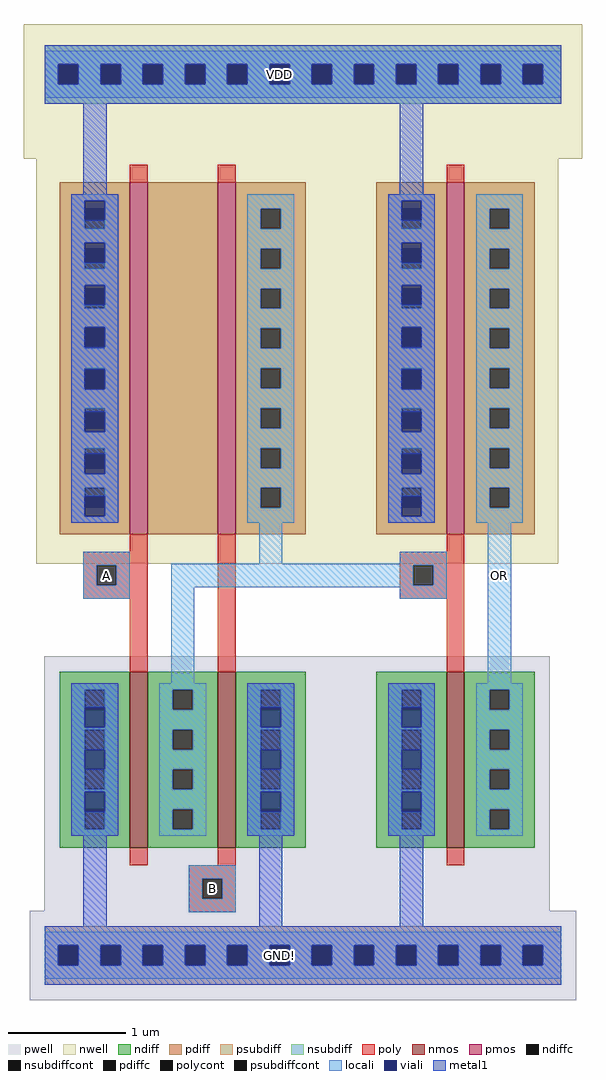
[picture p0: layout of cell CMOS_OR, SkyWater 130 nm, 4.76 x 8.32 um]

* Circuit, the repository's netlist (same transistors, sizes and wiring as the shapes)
* NGSPICE file created from CMOS_OR.ext - technology: sky130A

.subckt CMOS_OR GND OR B A VDD
X0 OR a_n1020_750# VDD VDD sky130_fd_pr__pfet_01v8 ad=1.8e+12p pd=7.2e+06u as=3.6e+12p ps=1.44e+07u w=3e+06u l=150000u
X1 GND B a_n1020_750# GND sky130_fd_pr__nfet_01v8 ad=2.7e+12p pd=1.26e+07u as=9e+11p ps=4.2e+06u w=1.5e+06u l=150000u
X2 OR a_n1020_750# GND GND sky130_fd_pr__nfet_01v8 ad=9e+11p pd=4.2e+06u as=0p ps=0u w=1.5e+06u l=150000u
X3 a_n1020_750# B a_n1020_1360# VDD sky130_fd_pr__pfet_01v8 ad=1.8e+12p pd=7.2e+06u as=1.8e+12p ps=7.2e+06u w=3e+06u l=150000u
X4 a_n1020_1360# A VDD VDD sky130_fd_pr__pfet_01v8 ad=0p pd=0u as=0p ps=0u w=3e+06u l=150000u
X5 a_n1020_750# A GND GND sky130_fd_pr__nfet_01v8 ad=0p pd=0u as=0p ps=0u w=1.5e+06u l=150000u
.ends

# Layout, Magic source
magic
tech sky130A
magscale 1 2
<< nwell >>
rect -1231 2000 -279 2230
rect -1210 1310 -320 2000
<< pwell >>
rect -1196 718 -334 1152
rect -1221 566 -289 718
<< nmos >>
rect -1050 826 -1020 1126
rect -900 826 -870 1126
rect -510 826 -480 1126
<< pmos >>
rect -1050 1360 -1020 1960
rect -900 1360 -870 1960
rect -510 1360 -480 1960
<< ndiff >>
rect -1170 1095 -1050 1126
rect -1170 1061 -1127 1095
rect -1093 1061 -1050 1095
rect -1170 1027 -1050 1061
rect -1170 993 -1127 1027
rect -1093 993 -1050 1027
rect -1170 959 -1050 993
rect -1170 925 -1127 959
rect -1093 925 -1050 959
rect -1170 891 -1050 925
rect -1170 857 -1127 891
rect -1093 857 -1050 891
rect -1170 826 -1050 857
rect -1020 1095 -900 1126
rect -1020 1061 -977 1095
rect -943 1061 -900 1095
rect -1020 1027 -900 1061
rect -1020 993 -977 1027
rect -943 993 -900 1027
rect -1020 959 -900 993
rect -1020 925 -977 959
rect -943 925 -900 959
rect -1020 891 -900 925
rect -1020 857 -977 891
rect -943 857 -900 891
rect -1020 826 -900 857
rect -870 1095 -750 1126
rect -870 1061 -827 1095
rect -793 1061 -750 1095
rect -870 1027 -750 1061
rect -870 993 -827 1027
rect -793 993 -750 1027
rect -870 959 -750 993
rect -870 925 -827 959
rect -793 925 -750 959
rect -870 891 -750 925
rect -870 857 -827 891
rect -793 857 -750 891
rect -870 826 -750 857
rect -630 1095 -510 1126
rect -630 1061 -587 1095
rect -553 1061 -510 1095
rect -630 1027 -510 1061
rect -630 993 -587 1027
rect -553 993 -510 1027
rect -630 959 -510 993
rect -630 925 -587 959
rect -553 925 -510 959
rect -630 891 -510 925
rect -630 857 -587 891
rect -553 857 -510 891
rect -630 826 -510 857
rect -480 1095 -360 1126
rect -480 1061 -437 1095
rect -403 1061 -360 1095
rect -480 1027 -360 1061
rect -480 993 -437 1027
rect -403 993 -360 1027
rect -480 959 -360 993
rect -480 925 -437 959
rect -403 925 -360 959
rect -480 891 -360 925
rect -480 857 -437 891
rect -403 857 -360 891
rect -480 826 -360 857
<< pdiff >>
rect -1170 1915 -1050 1960
rect -1170 1881 -1127 1915
rect -1093 1881 -1050 1915
rect -1170 1847 -1050 1881
rect -1170 1813 -1127 1847
rect -1093 1813 -1050 1847
rect -1170 1779 -1050 1813
rect -1170 1745 -1127 1779
rect -1093 1745 -1050 1779
rect -1170 1711 -1050 1745
rect -1170 1677 -1127 1711
rect -1093 1677 -1050 1711
rect -1170 1643 -1050 1677
rect -1170 1609 -1127 1643
rect -1093 1609 -1050 1643
rect -1170 1575 -1050 1609
rect -1170 1541 -1127 1575
rect -1093 1541 -1050 1575
rect -1170 1507 -1050 1541
rect -1170 1473 -1127 1507
rect -1093 1473 -1050 1507
rect -1170 1439 -1050 1473
rect -1170 1405 -1127 1439
rect -1093 1405 -1050 1439
rect -1170 1360 -1050 1405
rect -1020 1360 -900 1960
rect -870 1915 -750 1960
rect -870 1881 -827 1915
rect -793 1881 -750 1915
rect -870 1847 -750 1881
rect -870 1813 -827 1847
rect -793 1813 -750 1847
rect -870 1779 -750 1813
rect -870 1745 -827 1779
rect -793 1745 -750 1779
rect -870 1711 -750 1745
rect -870 1677 -827 1711
rect -793 1677 -750 1711
rect -870 1643 -750 1677
rect -870 1609 -827 1643
rect -793 1609 -750 1643
rect -870 1575 -750 1609
rect -870 1541 -827 1575
rect -793 1541 -750 1575
rect -870 1507 -750 1541
rect -870 1473 -827 1507
rect -793 1473 -750 1507
rect -870 1439 -750 1473
rect -870 1405 -827 1439
rect -793 1405 -750 1439
rect -870 1360 -750 1405
rect -630 1915 -510 1960
rect -630 1881 -587 1915
rect -553 1881 -510 1915
rect -630 1847 -510 1881
rect -630 1813 -587 1847
rect -553 1813 -510 1847
rect -630 1779 -510 1813
rect -630 1745 -587 1779
rect -553 1745 -510 1779
rect -630 1711 -510 1745
rect -630 1677 -587 1711
rect -553 1677 -510 1711
rect -630 1643 -510 1677
rect -630 1609 -587 1643
rect -553 1609 -510 1643
rect -630 1575 -510 1609
rect -630 1541 -587 1575
rect -553 1541 -510 1575
rect -630 1507 -510 1541
rect -630 1473 -587 1507
rect -553 1473 -510 1507
rect -630 1439 -510 1473
rect -630 1405 -587 1439
rect -553 1405 -510 1439
rect -630 1360 -510 1405
rect -480 1915 -360 1960
rect -480 1881 -437 1915
rect -403 1881 -360 1915
rect -480 1847 -360 1881
rect -480 1813 -437 1847
rect -403 1813 -360 1847
rect -480 1779 -360 1813
rect -480 1745 -437 1779
rect -403 1745 -360 1779
rect -480 1711 -360 1745
rect -480 1677 -437 1711
rect -403 1677 -360 1711
rect -480 1643 -360 1677
rect -480 1609 -437 1643
rect -403 1609 -360 1643
rect -480 1575 -360 1609
rect -480 1541 -437 1575
rect -403 1541 -360 1575
rect -480 1507 -360 1541
rect -480 1473 -437 1507
rect -403 1473 -360 1507
rect -480 1439 -360 1473
rect -480 1405 -437 1439
rect -403 1405 -360 1439
rect -480 1360 -360 1405
<< ndiffc >>
rect -1127 1061 -1093 1095
rect -1127 993 -1093 1027
rect -1127 925 -1093 959
rect -1127 857 -1093 891
rect -977 1061 -943 1095
rect -977 993 -943 1027
rect -977 925 -943 959
rect -977 857 -943 891
rect -827 1061 -793 1095
rect -827 993 -793 1027
rect -827 925 -793 959
rect -827 857 -793 891
rect -587 1061 -553 1095
rect -587 993 -553 1027
rect -587 925 -553 959
rect -587 857 -553 891
rect -437 1061 -403 1095
rect -437 993 -403 1027
rect -437 925 -403 959
rect -437 857 -403 891
<< pdiffc >>
rect -1127 1881 -1093 1915
rect -1127 1813 -1093 1847
rect -1127 1745 -1093 1779
rect -1127 1677 -1093 1711
rect -1127 1609 -1093 1643
rect -1127 1541 -1093 1575
rect -1127 1473 -1093 1507
rect -1127 1405 -1093 1439
rect -827 1881 -793 1915
rect -827 1813 -793 1847
rect -827 1745 -793 1779
rect -827 1677 -793 1711
rect -827 1609 -793 1643
rect -827 1541 -793 1575
rect -827 1473 -793 1507
rect -827 1405 -793 1439
rect -587 1881 -553 1915
rect -587 1813 -553 1847
rect -587 1745 -553 1779
rect -587 1677 -553 1711
rect -587 1609 -553 1643
rect -587 1541 -553 1575
rect -587 1473 -553 1507
rect -587 1405 -553 1439
rect -437 1881 -403 1915
rect -437 1813 -403 1847
rect -437 1745 -403 1779
rect -437 1677 -403 1711
rect -437 1609 -403 1643
rect -437 1541 -403 1575
rect -437 1473 -403 1507
rect -437 1405 -403 1439
<< psubdiff >>
rect -1195 659 -315 692
rect -1195 625 -1172 659
rect -1138 625 -1100 659
rect -1066 625 -1028 659
rect -994 625 -956 659
rect -922 625 -884 659
rect -850 625 -812 659
rect -778 625 -740 659
rect -706 625 -668 659
rect -634 625 -596 659
rect -562 625 -524 659
rect -490 625 -452 659
rect -418 625 -380 659
rect -346 625 -315 659
rect -1195 592 -315 625
<< nsubdiff >>
rect -1195 2161 -315 2194
rect -1195 2127 -1172 2161
rect -1138 2127 -1100 2161
rect -1066 2127 -1028 2161
rect -994 2127 -956 2161
rect -922 2127 -884 2161
rect -850 2127 -812 2161
rect -778 2127 -740 2161
rect -706 2127 -668 2161
rect -634 2127 -596 2161
rect -562 2127 -524 2161
rect -490 2127 -452 2161
rect -418 2127 -380 2161
rect -346 2127 -315 2161
rect -1195 2094 -315 2127
<< psubdiffcont >>
rect -1172 625 -1138 659
rect -1100 625 -1066 659
rect -1028 625 -994 659
rect -956 625 -922 659
rect -884 625 -850 659
rect -812 625 -778 659
rect -740 625 -706 659
rect -668 625 -634 659
rect -596 625 -562 659
rect -524 625 -490 659
rect -452 625 -418 659
rect -380 625 -346 659
<< nsubdiffcont >>
rect -1172 2127 -1138 2161
rect -1100 2127 -1066 2161
rect -1028 2127 -994 2161
rect -956 2127 -922 2161
rect -884 2127 -850 2161
rect -812 2127 -778 2161
rect -740 2127 -706 2161
rect -668 2127 -634 2161
rect -596 2127 -562 2161
rect -524 2127 -490 2161
rect -452 2127 -418 2161
rect -380 2127 -346 2161
<< poly >>
rect -1050 1960 -1020 1990
rect -900 1960 -870 1990
rect -510 1960 -480 1990
rect -1050 1330 -1020 1360
rect -1130 1307 -1020 1330
rect -1130 1273 -1107 1307
rect -1073 1273 -1020 1307
rect -1130 1250 -1020 1273
rect -1050 1126 -1020 1250
rect -900 1126 -870 1360
rect -510 1330 -480 1360
rect -590 1307 -480 1330
rect -590 1273 -567 1307
rect -533 1273 -480 1307
rect -590 1250 -480 1273
rect -510 1126 -480 1250
rect -1050 796 -1020 826
rect -900 796 -870 826
rect -510 796 -480 826
rect -950 773 -870 796
rect -950 739 -927 773
rect -893 739 -870 773
rect -950 716 -870 739
<< polycont >>
rect -1107 1273 -1073 1307
rect -567 1273 -533 1307
rect -927 739 -893 773
<< locali >>
rect -1195 2161 -315 2184
rect -1195 2127 -1172 2161
rect -1138 2127 -1100 2161
rect -1066 2127 -1028 2161
rect -994 2127 -956 2161
rect -922 2127 -884 2161
rect -850 2127 -812 2161
rect -778 2127 -740 2161
rect -706 2127 -668 2161
rect -634 2127 -596 2161
rect -562 2127 -524 2161
rect -490 2127 -452 2161
rect -418 2127 -380 2161
rect -346 2127 -315 2161
rect -1195 2104 -315 2127
rect -1150 1929 -1070 1940
rect -1150 1881 -1127 1929
rect -1093 1881 -1070 1929
rect -1150 1857 -1070 1881
rect -1150 1813 -1127 1857
rect -1093 1813 -1070 1857
rect -1150 1785 -1070 1813
rect -1150 1745 -1127 1785
rect -1093 1745 -1070 1785
rect -1150 1713 -1070 1745
rect -1150 1677 -1127 1713
rect -1093 1677 -1070 1713
rect -1150 1643 -1070 1677
rect -1150 1607 -1127 1643
rect -1093 1607 -1070 1643
rect -1150 1575 -1070 1607
rect -1150 1535 -1127 1575
rect -1093 1535 -1070 1575
rect -1150 1507 -1070 1535
rect -1150 1463 -1127 1507
rect -1093 1463 -1070 1507
rect -1150 1439 -1070 1463
rect -1150 1391 -1127 1439
rect -1093 1391 -1070 1439
rect -1150 1380 -1070 1391
rect -850 1915 -770 1940
rect -850 1881 -827 1915
rect -793 1881 -770 1915
rect -850 1847 -770 1881
rect -850 1813 -827 1847
rect -793 1813 -770 1847
rect -850 1779 -770 1813
rect -850 1745 -827 1779
rect -793 1745 -770 1779
rect -850 1711 -770 1745
rect -850 1677 -827 1711
rect -793 1677 -770 1711
rect -850 1643 -770 1677
rect -850 1609 -827 1643
rect -793 1609 -770 1643
rect -850 1575 -770 1609
rect -850 1541 -827 1575
rect -793 1541 -770 1575
rect -850 1507 -770 1541
rect -850 1473 -827 1507
rect -793 1473 -770 1507
rect -850 1439 -770 1473
rect -850 1405 -827 1439
rect -793 1405 -770 1439
rect -850 1380 -770 1405
rect -610 1929 -530 1940
rect -610 1881 -587 1929
rect -553 1881 -530 1929
rect -610 1857 -530 1881
rect -610 1813 -587 1857
rect -553 1813 -530 1857
rect -610 1785 -530 1813
rect -610 1745 -587 1785
rect -553 1745 -530 1785
rect -610 1713 -530 1745
rect -610 1677 -587 1713
rect -553 1677 -530 1713
rect -610 1643 -530 1677
rect -610 1607 -587 1643
rect -553 1607 -530 1643
rect -610 1575 -530 1607
rect -610 1535 -587 1575
rect -553 1535 -530 1575
rect -610 1507 -530 1535
rect -610 1463 -587 1507
rect -553 1463 -530 1507
rect -610 1439 -530 1463
rect -610 1391 -587 1439
rect -553 1391 -530 1439
rect -610 1380 -530 1391
rect -460 1915 -380 1940
rect -460 1881 -437 1915
rect -403 1881 -380 1915
rect -460 1847 -380 1881
rect -460 1813 -437 1847
rect -403 1813 -380 1847
rect -460 1779 -380 1813
rect -460 1745 -437 1779
rect -403 1745 -380 1779
rect -460 1711 -380 1745
rect -460 1677 -437 1711
rect -403 1677 -380 1711
rect -460 1643 -380 1677
rect -460 1609 -437 1643
rect -403 1609 -380 1643
rect -460 1575 -380 1609
rect -460 1541 -437 1575
rect -403 1541 -380 1575
rect -460 1507 -380 1541
rect -460 1473 -437 1507
rect -403 1473 -380 1507
rect -460 1439 -380 1473
rect -460 1405 -437 1439
rect -403 1405 -380 1439
rect -460 1380 -380 1405
rect -1130 1307 -1050 1330
rect -830 1310 -790 1380
rect -590 1310 -510 1330
rect -1130 1273 -1107 1307
rect -1073 1273 -1050 1307
rect -1130 1250 -1050 1273
rect -980 1307 -510 1310
rect -980 1273 -567 1307
rect -533 1273 -510 1307
rect -980 1270 -510 1273
rect -980 1106 -940 1270
rect -590 1250 -510 1270
rect -440 1106 -400 1380
rect -1150 1095 -1070 1106
rect -1150 1031 -1127 1095
rect -1093 1031 -1070 1095
rect -1150 1027 -1070 1031
rect -1150 925 -1127 1027
rect -1093 925 -1070 1027
rect -1150 921 -1070 925
rect -1150 857 -1127 921
rect -1093 857 -1070 921
rect -1150 846 -1070 857
rect -1000 1095 -920 1106
rect -1000 1061 -977 1095
rect -943 1061 -920 1095
rect -1000 1027 -920 1061
rect -1000 993 -977 1027
rect -943 993 -920 1027
rect -1000 959 -920 993
rect -1000 925 -977 959
rect -943 925 -920 959
rect -1000 891 -920 925
rect -1000 857 -977 891
rect -943 857 -920 891
rect -1000 846 -920 857
rect -850 1095 -770 1106
rect -850 1031 -827 1095
rect -793 1031 -770 1095
rect -850 1027 -770 1031
rect -850 925 -827 1027
rect -793 925 -770 1027
rect -850 921 -770 925
rect -850 857 -827 921
rect -793 857 -770 921
rect -850 846 -770 857
rect -610 1095 -530 1106
rect -610 1031 -587 1095
rect -553 1031 -530 1095
rect -610 1027 -530 1031
rect -610 925 -587 1027
rect -553 925 -530 1027
rect -610 921 -530 925
rect -610 857 -587 921
rect -553 857 -530 921
rect -610 846 -530 857
rect -460 1095 -380 1106
rect -460 1061 -437 1095
rect -403 1061 -380 1095
rect -460 1027 -380 1061
rect -460 993 -437 1027
rect -403 993 -380 1027
rect -460 959 -380 993
rect -460 925 -437 959
rect -403 925 -380 959
rect -460 891 -380 925
rect -460 857 -437 891
rect -403 857 -380 891
rect -460 846 -380 857
rect -950 773 -870 796
rect -950 739 -927 773
rect -893 739 -870 773
rect -950 716 -870 739
rect -1195 659 -315 682
rect -1195 625 -1172 659
rect -1138 625 -1100 659
rect -1066 625 -1028 659
rect -994 625 -956 659
rect -922 625 -884 659
rect -850 625 -812 659
rect -778 625 -740 659
rect -706 625 -668 659
rect -634 625 -596 659
rect -562 625 -524 659
rect -490 625 -452 659
rect -418 625 -380 659
rect -346 625 -315 659
rect -1195 602 -315 625
<< viali >>
rect -1172 2127 -1138 2161
rect -1100 2127 -1066 2161
rect -1028 2127 -994 2161
rect -956 2127 -922 2161
rect -884 2127 -850 2161
rect -812 2127 -778 2161
rect -740 2127 -706 2161
rect -668 2127 -634 2161
rect -596 2127 -562 2161
rect -524 2127 -490 2161
rect -452 2127 -418 2161
rect -380 2127 -346 2161
rect -1127 1915 -1093 1929
rect -1127 1895 -1093 1915
rect -1127 1847 -1093 1857
rect -1127 1823 -1093 1847
rect -1127 1779 -1093 1785
rect -1127 1751 -1093 1779
rect -1127 1711 -1093 1713
rect -1127 1679 -1093 1711
rect -1127 1609 -1093 1641
rect -1127 1607 -1093 1609
rect -1127 1541 -1093 1569
rect -1127 1535 -1093 1541
rect -1127 1473 -1093 1497
rect -1127 1463 -1093 1473
rect -1127 1405 -1093 1425
rect -1127 1391 -1093 1405
rect -587 1915 -553 1929
rect -587 1895 -553 1915
rect -587 1847 -553 1857
rect -587 1823 -553 1847
rect -587 1779 -553 1785
rect -587 1751 -553 1779
rect -587 1711 -553 1713
rect -587 1679 -553 1711
rect -587 1609 -553 1641
rect -587 1607 -553 1609
rect -587 1541 -553 1569
rect -587 1535 -553 1541
rect -587 1473 -553 1497
rect -587 1463 -553 1473
rect -587 1405 -553 1425
rect -587 1391 -553 1405
rect -1127 1061 -1093 1065
rect -1127 1031 -1093 1061
rect -1127 959 -1093 993
rect -1127 891 -1093 921
rect -1127 887 -1093 891
rect -827 1061 -793 1065
rect -827 1031 -793 1061
rect -827 959 -793 993
rect -827 891 -793 921
rect -827 887 -793 891
rect -587 1061 -553 1065
rect -587 1031 -553 1061
rect -587 959 -553 993
rect -587 891 -553 921
rect -587 887 -553 891
rect -1172 625 -1138 659
rect -1100 625 -1066 659
rect -1028 625 -994 659
rect -956 625 -922 659
rect -884 625 -850 659
rect -812 625 -778 659
rect -740 625 -706 659
rect -668 625 -634 659
rect -596 625 -562 659
rect -524 625 -490 659
rect -452 625 -418 659
rect -380 625 -346 659
<< metal1 >>
rect -1195 2161 -315 2194
rect -1195 2127 -1172 2161
rect -1138 2127 -1100 2161
rect -1066 2127 -1028 2161
rect -994 2127 -956 2161
rect -922 2127 -884 2161
rect -850 2127 -812 2161
rect -778 2127 -740 2161
rect -706 2127 -668 2161
rect -634 2127 -596 2161
rect -562 2127 -524 2161
rect -490 2127 -452 2161
rect -418 2127 -380 2161
rect -346 2127 -315 2161
rect -1195 2094 -315 2127
rect -1130 1940 -1090 2094
rect -590 1940 -550 2094
rect -1150 1929 -1070 1940
rect -1150 1895 -1127 1929
rect -1093 1895 -1070 1929
rect -1150 1857 -1070 1895
rect -1150 1823 -1127 1857
rect -1093 1823 -1070 1857
rect -1150 1785 -1070 1823
rect -1150 1751 -1127 1785
rect -1093 1751 -1070 1785
rect -1150 1713 -1070 1751
rect -1150 1679 -1127 1713
rect -1093 1679 -1070 1713
rect -1150 1641 -1070 1679
rect -1150 1607 -1127 1641
rect -1093 1607 -1070 1641
rect -1150 1569 -1070 1607
rect -1150 1535 -1127 1569
rect -1093 1535 -1070 1569
rect -1150 1497 -1070 1535
rect -1150 1463 -1127 1497
rect -1093 1463 -1070 1497
rect -1150 1425 -1070 1463
rect -1150 1391 -1127 1425
rect -1093 1391 -1070 1425
rect -1150 1380 -1070 1391
rect -610 1929 -530 1940
rect -610 1895 -587 1929
rect -553 1895 -530 1929
rect -610 1857 -530 1895
rect -610 1823 -587 1857
rect -553 1823 -530 1857
rect -610 1785 -530 1823
rect -610 1751 -587 1785
rect -553 1751 -530 1785
rect -610 1713 -530 1751
rect -610 1679 -587 1713
rect -553 1679 -530 1713
rect -610 1641 -530 1679
rect -610 1607 -587 1641
rect -553 1607 -530 1641
rect -610 1569 -530 1607
rect -610 1535 -587 1569
rect -553 1535 -530 1569
rect -610 1497 -530 1535
rect -610 1463 -587 1497
rect -553 1463 -530 1497
rect -610 1425 -530 1463
rect -610 1391 -587 1425
rect -553 1391 -530 1425
rect -610 1380 -530 1391
rect -1150 1065 -1070 1106
rect -1150 1031 -1127 1065
rect -1093 1031 -1070 1065
rect -1150 993 -1070 1031
rect -1150 959 -1127 993
rect -1093 959 -1070 993
rect -1150 921 -1070 959
rect -1150 887 -1127 921
rect -1093 887 -1070 921
rect -1150 846 -1070 887
rect -850 1065 -770 1106
rect -850 1031 -827 1065
rect -793 1031 -770 1065
rect -850 993 -770 1031
rect -850 959 -827 993
rect -793 959 -770 993
rect -850 921 -770 959
rect -850 887 -827 921
rect -793 887 -770 921
rect -850 846 -770 887
rect -610 1065 -530 1106
rect -610 1031 -587 1065
rect -553 1031 -530 1065
rect -610 993 -530 1031
rect -610 959 -587 993
rect -553 959 -530 993
rect -610 921 -530 959
rect -610 887 -587 921
rect -553 887 -530 921
rect -610 846 -530 887
rect -1130 692 -1090 846
rect -830 692 -790 846
rect -590 692 -550 846
rect -1195 659 -315 692
rect -1195 625 -1172 659
rect -1138 625 -1100 659
rect -1066 625 -1028 659
rect -994 625 -956 659
rect -922 625 -884 659
rect -850 625 -812 659
rect -778 625 -740 659
rect -706 625 -668 659
rect -634 625 -596 659
rect -562 625 -524 659
rect -490 625 -452 659
rect -418 625 -380 659
rect -346 625 -315 659
rect -1195 592 -315 625
<< labels >>
rlabel metal1 s -815 622 -775 662 4 GND!
port 1 nsew
rlabel metal1 s -815 2124 -775 2164 4 VDD
port 2 nsew
flabel locali s -437 1273 -403 1307 2 FreeSans 2000 0 0 0 OR
port 3 nsew
flabel locali s -1107 1273 -1073 1307 2 FreeSans 2000 0 0 0 A
port 4 nsew
flabel locali s -927 739 -893 773 2 FreeSans 2000 0 0 0 B
port 5 nsew
<< properties >>
string path -2.850 9.700 -2.850 10.470 
<< end >>
